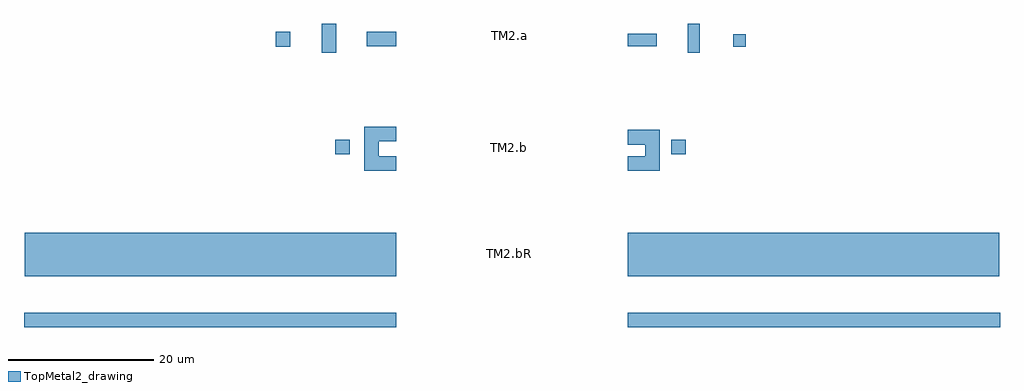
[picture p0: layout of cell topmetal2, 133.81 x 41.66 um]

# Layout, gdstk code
import gdstk
lib = gdstk.Library(unit=1e-6, precision=1e-09)
def R(c, l, rs):  # rectangles x0, y0, x1, y1
    for r in rs: c.add(gdstk.rectangle(r[:2], r[2:], *l))
def P(c, l, *ps):  # polygons
    for p in ps: c.add(gdstk.Polygon(p, *l))
TopMetal2_drawing = (134, 0)

topmetal2 = lib.new_cell('topmetal2')
R(topmetal2, TopMetal2_drawing, [(-66.475,-47.08,-15.47,-45.08), (16.325,-47.075,67.33,-45.075), (-66.405,-40.08,-15.47,-34.08), (16.325,-40.08,67.26,-34.08), (-23.83,-23.315,-21.83,-21.315), (22.265,-23.315,24.265,-21.315), (-25.675,-9.42,-23.675,-5.42), (24.51,-9.42,26.155,-5.42), (-31.945,-8.575,-29.945,-6.575), (30.78,-8.575,32.49,-6.865), (-19.47,-8.51,-15.47,-6.51), (16.305,-8.51,20.305,-6.805)])
P(topmetal2, TopMetal2_drawing, [(16.305,-25.585),(16.305,-23.585),(18.665,-23.585),(18.665,-22.01),(16.305,-22.01),(16.305,-20.01),(20.665,-20.01),(20.665,-25.585)],
  [(-19.83,-25.585),(-19.83,-19.585),(-15.47,-19.585),(-15.47,-21.585),(-17.83,-21.585),(-17.83,-23.585),(-15.47,-23.585),(-15.47,-25.585)])
topmetal2.add(gdstk.Label('5.25 TopMetal2', (0,21), layer=63, texttype=0))
topmetal2.add(gdstk.Label('TM2.bR', (0.06,-36.97), layer=63, texttype=0))
topmetal2.add(gdstk.Label('FAIL', (12,5), layer=63, texttype=0))
topmetal2.add(gdstk.Label('PASS', (-12,5), layer=63, texttype=0))
topmetal2.add(gdstk.Label('TM2.b', (0.06,-22.475), layer=63, texttype=0))
topmetal2.add(gdstk.Label('TM2.a', (0.06,-7.035), layer=63, texttype=0))

lib.write_gds('topmetal2.gds')
